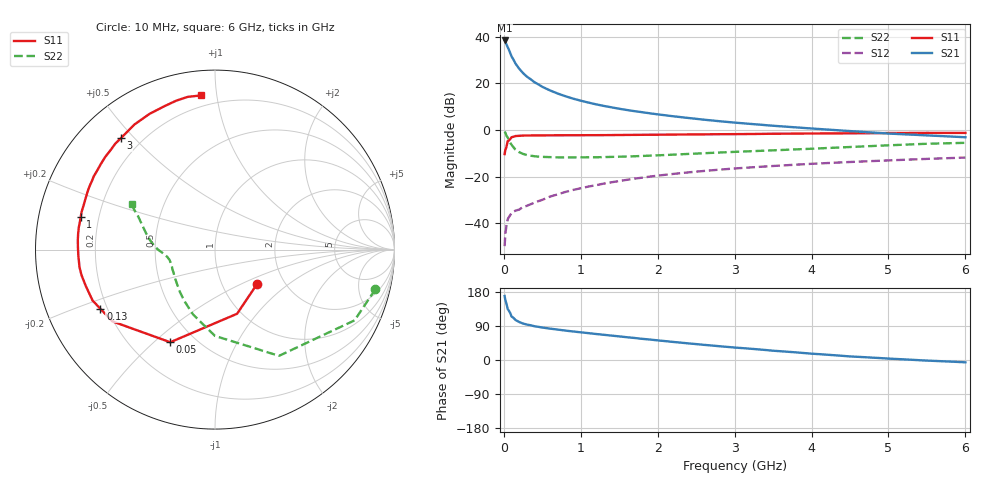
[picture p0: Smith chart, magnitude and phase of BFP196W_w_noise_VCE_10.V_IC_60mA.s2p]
! Infineon Technologies  Discrete & RF Semiconductors
! BFP196W
! VCE =  10. V,  IC =  60 mA
! Common Emitter S-Parameters:  Jan 2017
# GHz  S  MA  R  50
!  f  S11  S21  S12  S22
! GHz  MAG  ANG  MAG  ANG  MAG  ANG  MAG  ANG
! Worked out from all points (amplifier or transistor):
!   77 points, 10 MHz to 6 GHz, reference 50 ohm
!   highest |S21| = 38.4 dB at 10 MHz (marker M1)
!   |S21| within 3 dB of that: start of sweep to 51.88 MHz
!   unconditionally stable (mu >= 1): 679.7 MHz to 3.25 GHz
!   at 130 MHz: K = 0.43, MSG = 32.5 dB, |S12| = -35.0 dB
!   at 2.2 GHz: K = 1.04, MAG = 11.2 dB, |S12| = -18.9 dB
!   at 6 GHz: K = 0.93, MSG = 4.4 dB, |S12| = -11.9 dB
!   lowest NFmin = 1.47 dB at 450 MHz
!   S11 on the Smith chart (normalised r, x): 10 MHz: 1.45, -0.62; 50 MHz: 0.37, -0.56; 130 MHz: 0.17, -0.24; 1 GHz: 0.13, +0.12; 3 GHz: 0.13, +0.46; 6 GHz: 0.13, +0.90
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0.01  0.3031 -39.8  83.29 168.9  0.0032 78.5  0.9204 -13.9
0.02  0.3781 -71.0  78.65 157.9  0.006 71.4  0.8718 -26.9
0.05  0.5732 -115.8  59.89 134.4  0.0121 51.4  0.6912 -58.9
0.1  0.6982 -145.1  37.95 114.9  0.0164 43.2  0.481 -90.0
0.13  0.7186 -152.7  31.19 110.2  0.0177 42.3  0.4152 -100.3
0.15  0.7387 -157.4  26.85 105.8  0.0185 41.7  0.3807 -108.9
0.2  0.7479 -164.3  20.55 100.2  0.0195 43.6  0.3333 -120.8
0.25  0.7573 -169.2  16.6 96.2  0.0223 45.3  0.3057 -129.9
0.3  0.7612 -172.6  13.91 93.5  0.0235 48.1  0.2888 -136.3
0.4  0.7621 -177.5  10.53 89.0  0.0276 52.4  0.2723 -145.4
0.5  0.764 178.8  8.433 85.7  0.0316 55.6  0.264 -151.2
0.6  0.7663 175.8  7.051 82.8  0.0371 57.9  0.2611 -155.6
0.8  0.7688 170.7  5.296 77.6  0.0467 61.4  0.2575 -160.8
1  0.7703 166.3  4.244 73.0  0.056 62.2  0.258 -164.5
1.1  0.7723 164.1  3.865 70.9  0.0609 62.7  0.2588 -165.6
1.5  0.7784 156.4  2.848 62.3  0.0801 61.7  0.2665 -170.2
2.1  0.7919 145.0  2.062 49.8  0.109 58.1  0.2898 -175.8
3  0.8126 130.2  1.436 32.9  0.1489 50.7  0.3383 176.6
3.1  0.8148 128.7  1.393 31.4  0.1527 49.8  0.3434 175.6
4.1  0.8402 114.6  1.047 15.4  0.1908 41.6  0.4017 165.4
5.1  0.8584 103.7  0.821 2.7  0.2253 33.7  0.4749 155.9
6  0.8624 95.3  0.697 -6.1  0.2554 26.7  0.5289 151.0
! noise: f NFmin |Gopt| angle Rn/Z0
0.45  1.47  0.52  -176  0.06
0.9  1.59  0.56  -170  0.07
1.9  2.42  0.69  -149  0.17
2.4  2.81  0.73  -144  0.27
